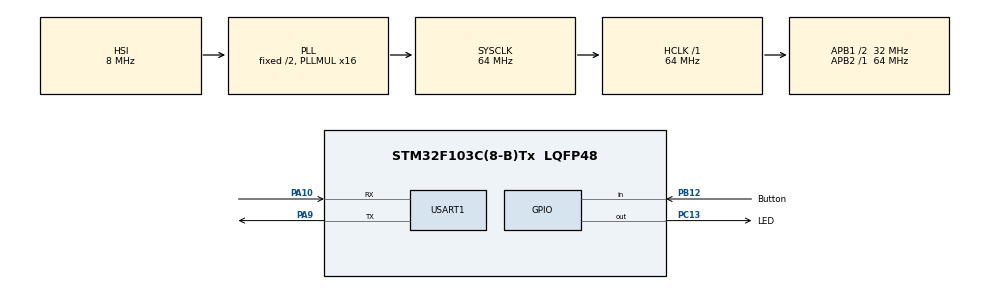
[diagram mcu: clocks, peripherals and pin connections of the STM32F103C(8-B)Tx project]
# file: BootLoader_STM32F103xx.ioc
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Mcu.Family=STM32F1
Mcu.Name=STM32F103C(8-B)Tx
Mcu.Package=LQFP48
NVIC.PriorityGroup=NVIC_PRIORITYGROUP_4
PA10.Mode=Asynchronous
PA10.Signal=USART1_RX
PA13.Mode=Serial_Wire
PA13.Signal=SYS_JTMS-SWDIO
PA14.Mode=Serial_Wire
PA14.Signal=SYS_JTCK-SWCLK
PA9.Mode=Asynchronous
PA9.Signal=USART1_TX
PB12.GPIO_Label=Button
PB12.GPIO_PuPd=GPIO_PULLUP
PB12.Signal=GPIO_Input
PC13-TAMPER-RTC.GPIO_Label=LED
PC13-TAMPER-RTC.Signal=GPIO_Output
ProjectManager.HeapSize=0x200
ProjectManager.StackSize=0x400
ProjectManager.TargetToolchain=TrueSTUDIO
RCC.AHBFreq_Value=64000000
RCC.APB1CLKDivider=RCC_HCLK_DIV2
RCC.APB1Freq_Value=32000000
RCC.APB1TimFreq_Value=64000000
RCC.APB2Freq_Value=64000000
RCC.APB2TimFreq_Value=64000000
RCC.HCLKFreq_Value=64000000
RCC.PLLMUL=RCC_PLL_MUL16
RCC.SYSCLKFreq_VALUE=64000000
RCC.SYSCLKSource=RCC_SYSCLKSOURCE_PLLCLK
RCC.USBFreq_Value=64000000
USART1.VirtualMode=VM_ASYNC
VP_CRC_VS_CRC.Mode=CRC_Activate
board=custom

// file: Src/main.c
 /* USER CODE BEGIN Header */
/**
  ******************************************************************************
  * @file           : main.c
  * @brief          : Main program body
  ******************************************************************************
  * @attention
  *
  * <h2><center>&copy; Copyright (c) 2020 STMicroelectronics.
  * All rights reserved.</center></h2>
  *
  * This software component is licensed by ST under BSD 3-Clause license,
  * the "License"; You may not use this file except in compliance with the
  * License. You may obtain a copy of the License at:
  *                        opensource.org/licenses/BSD-3-Clause
  *
  ******************************************************************************
  */
/* USER CODE END Header */

#include "main.h"

/* USER CODE BEGIN Includes */
#include<string.h>
#include<stdarg.h>
#include <stdio.h>
#include "Bootloader.h"
/* USER CODE END Includes */

/* USER CODE BEGIN PD */
#define BL_DEBUG_MSG_EN

/* USER CODE END PD */

CRC_HandleTypeDef hcrc;

UART_HandleTypeDef huart1;

/* USER CODE BEGIN PV */
char someData []="Hello from Bootloader\r\n";
/* USER CODE END PV */

void SystemClock_Config(void);
static void MX_GPIO_Init(void);
static void MX_CRC_Init(void);
static void MX_USART1_UART_Init(void);
/* USER CODE BEGIN PFP */
void printmsg(char *format,...);

/* USER CODE END PFP */

int main(void)
{

  /* MCU Configuration--------------------------------------------------------*/

  /* Reset of all peripherals, Initializes the Flash interface and the Systick. */
  HAL_Init();

  /* Configure the system clock */
  SystemClock_Config();

  /* Initialize all configured peripherals */
  MX_GPIO_Init();
  MX_CRC_Init();
  MX_USART1_UART_Init();
  /* USER CODE BEGIN 2 */

  /*
   * Lets check whather the Button is pressed or not
   * 1. if is Pressed continue in the Bootloader mode
   * 2. if is not pressed jump to application Mode
   */
  if(HAL_GPIO_ReadPin(GPIOB,Button_Pin)== GPIO_PIN_RESET)
  {
	  // Button is Pressed
	  printmsg("BL_DEBUG_MSG:Button is pressed .. Going to Bootloader Mode\r\n");

	  // Continue in the Bootloader mode
	  BootLoader_UART_Read_Host_CMD();
  }
  else
  {
	  // Button is not Pressed
	  printmsg("BL_DEBUG_MSG:Button is not pressed .. Executing user Mode\r\n");

	  // Execute User Mode
	  BootLoader_Jump_to_User_APP();
  }

  /* USER CODE END 2 */

  /* Infinite loop */
  /* USER CODE BEGIN WHILE */
  while (1)
  {
//	  printmsg("current_tick = %d\r\n",HAL_GetTick());
//	  HAL_Delay(500);
    /* USER CODE END WHILE */

  }
}

void SystemClock_Config(void)
{
  RCC_OscInitTypeDef RCC_OscInitStruct = {0};
  RCC_ClkInitTypeDef RCC_ClkInitStruct = {0};

  /** Initializes the CPU, AHB and APB busses clocks
  */
  RCC_OscInitStruct.OscillatorType = RCC_OSCILLATORTYPE_HSI;
  RCC_OscInitStruct.HSIState = RCC_HSI_ON;
  RCC_OscInitStruct.HSICalibrationValue = RCC_HSICALIBRATION_DEFAULT;
  RCC_OscInitStruct.PLL.PLLState = RCC_PLL_ON;
  RCC_OscInitStruct.PLL.PLLSource = RCC_PLLSOURCE_HSI_DIV2;
  RCC_OscInitStruct.PLL.PLLMUL = RCC_PLL_MUL16;
  if (HAL_RCC_OscConfig(&RCC_OscInitStruct) != HAL_OK)
  {
    Error_Handler();
  }
  /** Initializes the CPU, AHB and APB busses clocks
  */
  RCC_ClkInitStruct.ClockType = RCC_CLOCKTYPE_HCLK|RCC_CLOCKTYPE_SYSCLK
                              |RCC_CLOCKTYPE_PCLK1|RCC_CLOCKTYPE_PCLK2;
  RCC_ClkInitStruct.SYSCLKSource = RCC_SYSCLKSOURCE_PLLCLK;
  RCC_ClkInitStruct.AHBCLKDivider = RCC_SYSCLK_DIV1;
  RCC_ClkInitStruct.APB1CLKDivider = RCC_HCLK_DIV2;
  RCC_ClkInitStruct.APB2CLKDivider = RCC_HCLK_DIV1;

  if (HAL_RCC_ClockConfig(&RCC_ClkInitStruct, FLASH_LATENCY_2) != HAL_OK)
  {
    Error_Handler();
  }
}

static void MX_CRC_Init(void)
{

  hcrc.Instance = CRC;
  if (HAL_CRC_Init(&hcrc) != HAL_OK)
  {
    Error_Handler();
  }

}

static void MX_USART1_UART_Init(void)
{

  huart1.Instance = USART1;
  huart1.Init.BaudRate = 115200;
  huart1.Init.WordLength = UART_WORDLENGTH_8B;
  huart1.Init.StopBits = UART_STOPBITS_1;
  huart1.Init.Parity = UART_PARITY_NONE;
  huart1.Init.Mode = UART_MODE_TX_RX;
  huart1.Init.HwFlowCtl = UART_HWCONTROL_NONE;
  huart1.Init.OverSampling = UART_OVERSAMPLING_16;
  if (HAL_UART_Init(&huart1) != HAL_OK)
  {
    Error_Handler();
  }

}

static void MX_GPIO_Init(void)
{
  GPIO_InitTypeDef GPIO_InitStruct = {0};

  /* GPIO Ports Clock Enable */
  __HAL_RCC_GPIOC_CLK_ENABLE();
  __HAL_RCC_GPIOB_CLK_ENABLE();
  __HAL_RCC_GPIOA_CLK_ENABLE();

  /*Configure GPIO pin Output Level */
  HAL_GPIO_WritePin(LED_GPIO_Port, LED_Pin, GPIO_PIN_RESET);

  /*Configure GPIO pin : LED_Pin */
  GPIO_InitStruct.Pin = LED_Pin;
  GPIO_InitStruct.Mode = GPIO_MODE_OUTPUT_PP;
  GPIO_InitStruct.Pull = GPIO_NOPULL;
  GPIO_InitStruct.Speed = GPIO_SPEED_FREQ_LOW;
  HAL_GPIO_Init(LED_GPIO_Port, &GPIO_InitStruct);

  /*Configure GPIO pin : Button_Pin */
  GPIO_InitStruct.Pin = Button_Pin;
  GPIO_InitStruct.Mode = GPIO_MODE_INPUT;
  GPIO_InitStruct.Pull = GPIO_PULLUP;
  HAL_GPIO_Init(Button_GPIO_Port, &GPIO_InitStruct);

}

/* USER CODE BEGIN 4 */

/* Print Formatted string to console over UART */
void printmsg(char *format,...)
{
#ifdef BL_DEBUG_MSG_EN
	char str[80];

	/* Extract the arguments list using VA APIs */
	va_list args;
	va_start(args,format);
	vsprintf(str,format,args);
	HAL_UART_Transmit(D_UART, (uint8_t*)str, strlen(str), HAL_MAX_DELAY);
	va_end(args);

#endif
}

/* USER CODE END 4 */

void Error_Handler(void)
{
}

/************************ (C) COPYRIGHT STMicroelectronics *****END OF FILE****/
